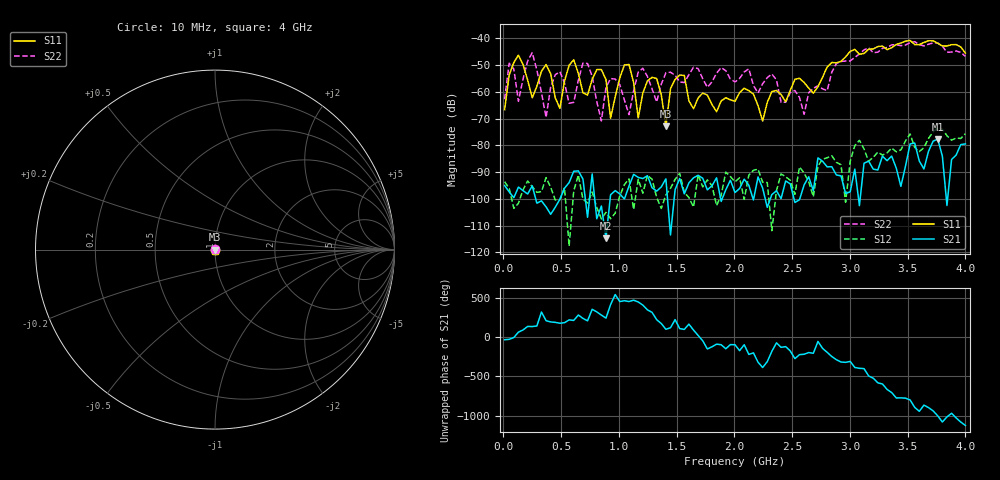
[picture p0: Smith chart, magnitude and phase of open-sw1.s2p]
! PocketVna 1.81  pocketvna.com
! Live measurements ((Reflection-S11, Transmission-S21, Transmission-S12, Reflection-S22) Linear 10000000-4000000000/101 non-calibrated)
# GHz S MA R 50
! GHz  |S11|  <S11  |S21|  <S21  |S12|  <S12  |S22|  <S22
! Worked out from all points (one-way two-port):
!   101 points, 10 MHz to 4 GHz, reference 50 ohm
!   highest |S21| = -77.65 dB at 3.761 GHz (marker M1); lowest = -114.6 dB at 887.8 MHz (marker M2)
!   lowest |S11| = -72.9 dB at 1.407 GHz (marker M3), VSWR 1.00, Z = 50 + j0.0204 ohm
!   |S11| at or under -10 dB: start of sweep to end of sweep
!   |S22| runs from -70.9 to -41.3 dB; largest |S21 - S12| = 0.00027
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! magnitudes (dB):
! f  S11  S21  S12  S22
! 10 MHz  -66.7  -95.0  -93.6  -62.8
! 49.9 MHz  -53.7  -97.4  -96.1  -49.3
! 129.7 MHz  -46.3  -95.6  -101.6  -63.5
! 249.4 MHz  -62.2  -95.1  -95.4  -45.4
! 369.1 MHz  -49.8  -103.0  -92.0  -69.6
! 488.8 MHz  -66.2  -100.1  -100.3  -52.5
! 608.5 MHz  -48.0  -89.7  -97.0  -63.9
! 688.3 MHz  -60.4  -92.6  -100.1  -49.3
! 847.9 MHz  -51.7  -102.7  -107.5  -70.9
! 887.8 MHz  -55.4  -114.6  -105.0  -58.3
! 927.7 MHz  -69.8  -98.5  -107.4  -55.0
! 1.047 GHz  -50.0  -100.0  -94.7  -63.0
! 1.167 GHz  -69.8  -92.0  -92.7  -52.6
! 1.247 GHz  -55.9  -91.3  -91.2  -54.3
! 1.367 GHz  -61.1  -95.5  -103.6  -57.1
! 1.407 GHz  -72.9  -92.5  -98.5  -52.9
! 1.526 GHz  -53.7  -92.4  -90.4  -56.3
! 2.005 GHz  -63.5  -97.6  -93.6  -56.3
! 2.683 GHz  -60.5  -97.0  -99.2  -58.7
! 3.362 GHz  -43.6  -84.0  -81.0  -42.5
! 3.761 GHz  -41.9  -77.6  -73.4  -41.8
! 4 GHz  -45.5  -79.5  -75.6  -46.7
